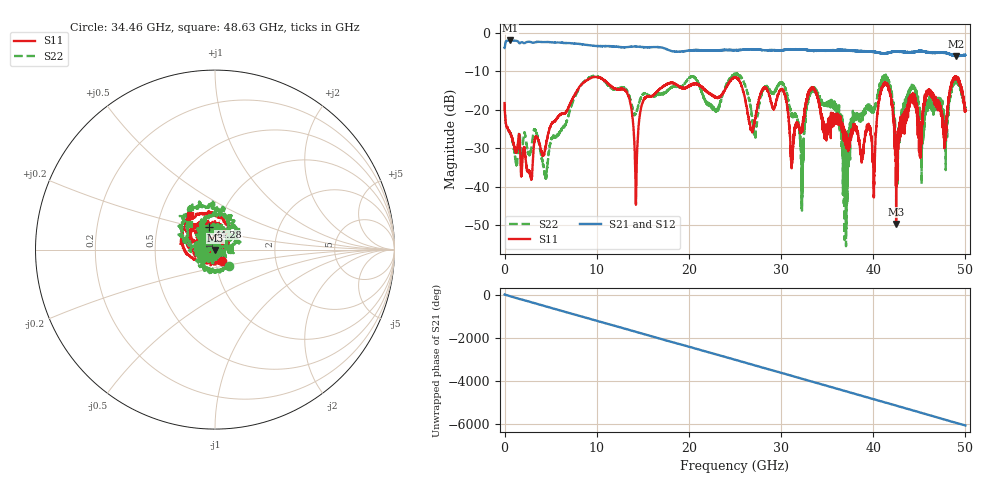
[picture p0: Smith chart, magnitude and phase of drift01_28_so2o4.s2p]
!Created with skrf (http://scikit-rf.org).
# Hz S RI R 50.0
!freq ReS11 ImS11 ReS21 ImS21 ReS12 ImS12 ReS22 ImS22
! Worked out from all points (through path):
!   10001 points, 300 kHz to 50 GHz, reference 50 ohm
!   highest |S21| = -2.00 dB at 570.3 MHz (marker M1); lowest = -6.1 dB at 48.98 GHz (marker M2)
!   group delay of S21, straight-line fit = 336 ps
!   lowest |S11| = -49.7 dB at 42.49 GHz (marker M3), VSWR 1.01, Z = 50.3 - j0.186 ohm
!   |S11| at or under -10 dB: start of sweep to end of sweep
!   |S22| runs from -55.5 to -10.6 dB; largest |S21 - S12| = 0.02
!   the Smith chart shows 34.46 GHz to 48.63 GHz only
!   S11 on the Smith chart (normalised r, x): 34.46 GHz: 1.07, -0.14; 44.28 GHz: 0.91, +0.24; 48.63 GHz: 0.71, +0.29
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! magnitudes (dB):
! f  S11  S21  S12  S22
! 300 kHz  -18.3  -4.0  -4.0  -18.1
! 570.3 MHz  -26.0  -2.0  -2.0  -26.0
! 4.435 GHz  -29.9  -2.4  -2.4  -37.3
! 8.335 GHz  -13.5  -3.0  -3.0  -13.5
! 13.16 GHz  -15.1  -3.7  -3.7  -14.7
! 14.25 GHz  -43.3  -3.6  -3.6  -21.1
! 16.67 GHz  -15.0  -3.7  -3.7  -15.9
! 25 GHz  -11.6  -4.5  -4.6  -10.9
! 27.15 GHz  -22.6  -4.3  -4.3  -25.8
! 30.2 GHz  -15.1  -4.5  -4.5  -13.3
! 32.25 GHz  -24.8  -4.3  -4.3  -38.8
! 33.34 GHz  -14.3  -4.6  -4.6  -14.8
! 34.46 GHz  -22.5  -4.6  -4.6  -18.6
! 37.03 GHz  -26.8  -4.5  -4.6  -30.6
! 40.06 GHz  -42.3  -4.9  -4.9  -20.3
! 41.67 GHz  -14.3  -5.1  -5.2  -12.9
! 42.49 GHz  -49.7  -4.8  -4.9  -31.1
! 44.28 GHz  -17.6  -5.0  -5.0  -14.4
! 45.33 GHz  -21.9  -4.7  -4.7  -24.8
! 48.63 GHz  -12.5  -5.8  -5.8  -13.9
! 48.98 GHz  -11.4  -6.1  -6.0  -12.7
! 50 GHz  -20.1  -5.8  -5.8  -19.4
